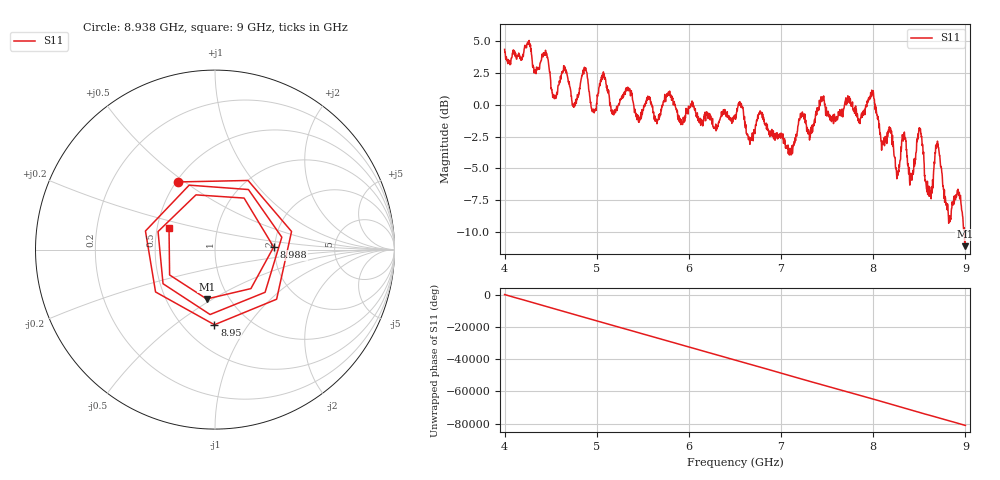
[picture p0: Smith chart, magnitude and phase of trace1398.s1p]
! Created with skrf 1.8.0 (http://scikit-rf.org).
# Hz S RI R 50.0
!freq ReS11 ImS11
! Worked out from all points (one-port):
!   1601 points, 4 GHz to 9 GHz, reference 50 ohm
!   lowest |S11| = -11.1 dB at 8.994 GHz (marker M1), VSWR 1.77, Z = 39.4 - j23.5 ohm
!   |S11| at or under -10 dB: 8.988993 GHz to end of sweep
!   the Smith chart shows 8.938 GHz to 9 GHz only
!   S11 on the Smith chart (normalised r, x): 8.938 GHz: 0.51, +0.47; 8.95 GHz: 0.70, -0.71; 8.988 GHz: 1.97, +0.06; 9 GHz: 0.58, +0.15
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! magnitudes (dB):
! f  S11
! 4 GHz  4.3
! 4.447 GHz  4.0
! 4.541 GHz  0.5
! 4.625 GHz  2.5
! 4.753 GHz  -0.2
! 4.869 GHz  2.7
! 4.962 GHz  -0.5
! 5.069 GHz  2.4
! 5.25 GHz  0.2
! 5.875 GHz  -0.5
! 6.5 GHz  -1.0
! 7.125 GHz  -3.7
! 7.219 GHz  -1.0
! 7.75 GHz  0.5
! 7.988 GHz  0.9
! 8.259 GHz  -5.6
! 8.331 GHz  -2.4
! 8.375 GHz  -4.8
! 8.419 GHz  -5.9
! 8.503 GHz  -1.8
! 8.603 GHz  -6.4
! 8.697 GHz  -2.9
! 8.819 GHz  -9.3
! 8.938 GHz  -7.4
! 8.95 GHz  -7.6
! 8.988 GHz  -9.7
! 8.994 GHz  -11.1
! 9 GHz  -11.0
